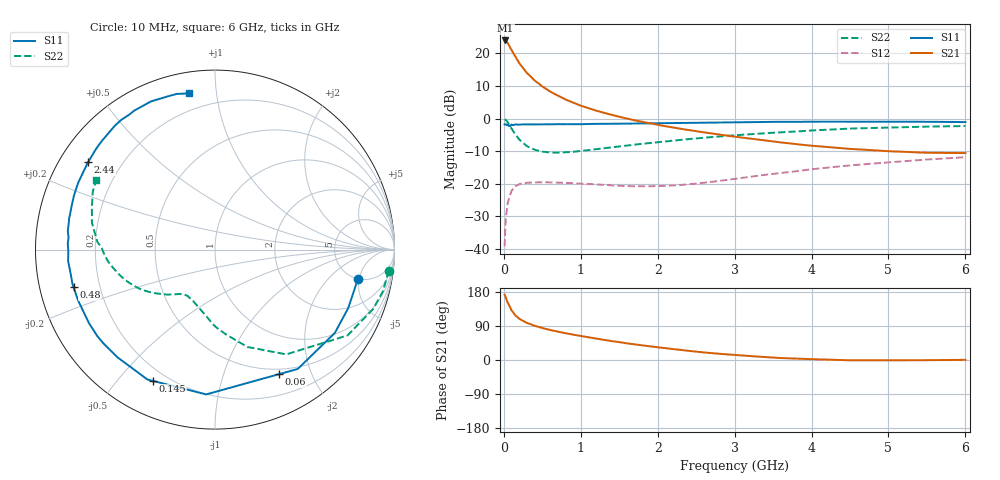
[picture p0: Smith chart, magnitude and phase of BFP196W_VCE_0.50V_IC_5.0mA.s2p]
! Infineon Technologies  Discrete & RF Semiconductors
! BFP196W
! VCE = 0.50V,  IC = 5.0mA
! Common Emitter S-Parameters:  Jan 2016
# GHz  S  MA  R  50
!  f  S11  S21  S12  S22
! GHz  MAG  ANG  MAG  ANG  MAG  ANG  MAG  ANG
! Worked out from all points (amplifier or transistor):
!   210 points, 10 MHz to 6 GHz, reference 50 ohm
!   highest |S21| = 23.9 dB at 20 MHz (marker M1)
!   |S21| within 3 dB of that: start of sweep to 103 MHz
!   unconditionally stable (mu >= 1): 1.363 GHz to end of sweep
!   at 185 MHz: K = 0.15, MSG = 18.9 dB, |S12| = -20.3 dB
!   at 1.52 GHz: K = 1.11, MAG = 8.5 dB, |S12| = -20.6 dB
!   at 6 GHz: K = 1.12, MAG = -1.5 dB, |S12| = -11.8 dB
!   S11 on the Smith chart (normalised r, x): 10 MHz: 4.93, -4.80; 60 MHz: 0.44, -1.55; 145 MHz: 0.15, -0.62; 480 MHz: 0.10, -0.13; 2.44 GHz: 0.08, +0.31; 6 GHz: 0.11, +0.84
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0.01  0.8131 -11.7  15.63 172.5  0.0111 80.4  0.9752 -6.9
0.02  0.8108 -23.7  15.69 167.9  0.0226 78.3  0.9644 -13.9
0.03  0.8132 -34.8  15.38 162.1  0.0326 72.8  0.9416 -20.5
0.05  0.809 -55.3  14.35 151.1  0.0507 62.2  0.8799 -32.9
0.06  0.7807 -62.7  13.62 147.8  0.0556 57.1  0.8358 -36.7
0.1  0.8084 -93.5  11.27 130.8  0.0783 43.7  0.7058 -55.8
0.145  0.8087 -115.2  9.067 119.1  0.0909 33.5  0.5827 -69.7
0.15  0.8158 -117.5  8.852 117.5  0.0924 32.5  0.5716 -71.6
0.2  0.8096 -132.2  7.063 108.9  0.0986 25.5  0.4782 -82.4
0.26  0.8137 -143.6  5.709 101.7  0.1026 20.1  0.414 -91.9
0.3  0.813 -149.7  4.979 97.7  0.1038 17.6  0.3778 -96.8
0.4  0.8137 -159.6  3.826 90.1  0.1053 13.2  0.3334 -106.4
0.48  0.8152 -165.1  3.241 85.6  0.1057 11.3  0.3154 -111.5
0.7  0.821 -175.5  2.25 74.9  0.1047 8.1  0.2997 -121.2
1.02  0.8201 174.8  1.547 62.6  0.1002 6.7  0.3205 -129.4
1.4  0.8313 166.0  1.137 49.9  0.0953 9.0  0.3628 -136.2
2.02  0.8487 153.4  0.792 33.2  0.0925 20.0  0.4368 -147.3
2.44  0.8584 145.5  0.656 23.4  0.0991 28.1  0.4886 -155.0
3.1  0.8764 134.0  0.51 11.8  0.1235 36.2  0.5646 -167.8
4.1  0.8953 118.7  0.376 1.7  0.1721 36.3  0.6646 174.4
5.1  0.8932 107.2  0.313 -0.7  0.2176 30.2  0.7327 159.1
6  0.8821 99.3  0.296 0.4  0.256 23.9  0.7675 149.6
